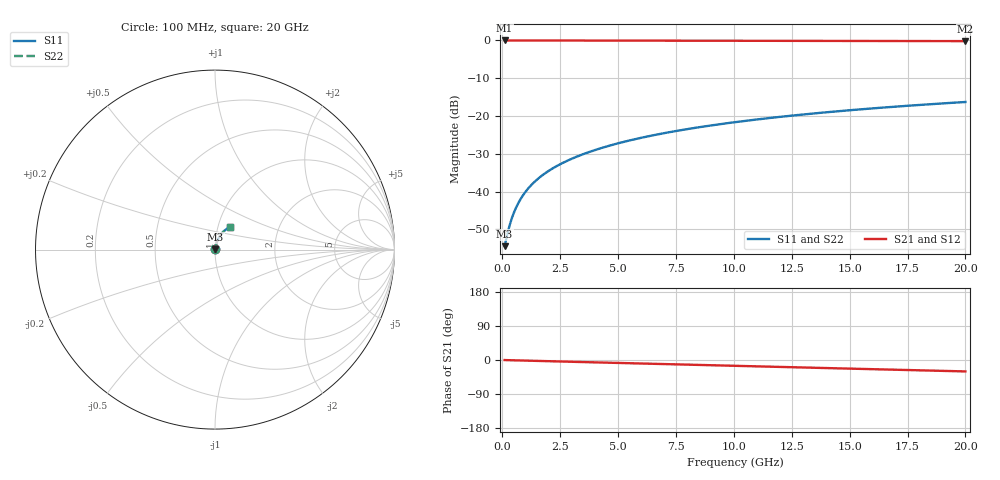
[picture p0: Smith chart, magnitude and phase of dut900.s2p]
! Touchstone file exported from HFSS 2026.1.0
!  File:  C:/ffzhzh/LocalFiles/Ansys_Project_Files/temp_train_BSMRDL_900_1783171405_18472.aedt
!  Generated:  09:24:36 PM Jul  4, 2026
!  Design:  BSMRDL
!  Project:  temp_train_BSMRDL_900_1783171405_18472
! Variables:
!  h_bsmrdl = 5.54um
!  h_ox = 20um
!  h_rdl = 5um
!  h_sub = 80um
!  h_tmrdl = 5um
!  h_tsv = 80um
!  h_via = 3um
!  l_bsmrdl = 501.23um
!  l_sub = 901.23um
!  l_tmrdl = 200um
!  m_sub = 200um
!  pitch = 37.38um
!  r_tsv = 6um
!  s_tmrdl = 10um
!  w_bsmrdl = 24.73um
!  w_sub = 500um
!  w_tmrdl = 12um
!  x_tsv_center1 = 206um
!  x_tsv_center2 = 731.96um
!  x_tsv_center3 = 943.96um
!  x_tsv_center4 = 1469.92um
!  x_tsv_center5 = 1681.92um
!  x_tsv_center6 = 2207.88um
# GHz S MA R 50.000000
! Terminal data exported
! Port[1] = BSM_RDL1_1_T1
! Port[2] = BSM_RDL1_1_T2
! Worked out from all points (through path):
!   200 points, 100 MHz to 20 GHz, reference 50 ohm
!   highest |S21| = -0.01 dB at 100 MHz (marker M1); lowest = -0.2 dB at 20 GHz (marker M2)
!   group delay of S21, straight-line fit = 4.17 ps
!   lowest |S11| = -54.4 dB at 100 MHz (marker M3), VSWR 1.00, Z = 50.2 + j0.115 ohm
!   |S11| at or under -10 dB: start of sweep to end of sweep
!   |S22| runs from -54.4 to -16.3 dB; largest |S21 - S12| = 4.3e-15
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0.1  0.001902 37.1  0.9985 -0.2  0.9985 -0.2  0.001902 37.1
! Gamma 0 0 0 0
! Port Impedance 50 0 50 0
0.2  0.002602 56.6  0.9983 -0.3  0.9983 -0.3  0.002577 56.4
0.3  0.003444 65.9  0.9982 -0.5  0.9982 -0.5  0.003407 65.5
0.4  0.004343 70.7  0.9981 -0.7  0.9981 -0.7  0.004301 70.4
0.5  0.005267 73.5  0.998 -0.8  0.998 -0.8  0.005223 73.3
0.6  0.006202 75.3  0.9979 -1.0  0.9979 -1.0  0.006156 75.0
0.8  0.008076 77.1  0.9978 -1.3  0.9978 -1.3  0.008028 77.0
1.1  0.01085 78.2  0.9977 -1.7  0.9977 -1.7  0.01081 78.2
1.3  0.01266 78.5  0.9975 -2.1  0.9975 -2.1  0.01262 78.5
1.5  0.01445 78.5  0.9974 -2.4  0.9974 -2.4  0.01442 78.6
1.8  0.01708 78.5  0.9972 -2.8  0.9972 -2.8  0.01706 78.5
2.1  0.01967 78.4  0.997 -3.3  0.997 -3.3  0.01965 78.4
2.7  0.02474 78.0  0.9964 -4.2  0.9964 -4.2  0.02474 78.0
3.5  0.03138 77.4  0.9957 -5.5  0.9957 -5.5  0.03138 77.4
4.2  0.03711 76.7  0.995 -6.5  0.995 -6.5  0.03711 76.7
5  0.04358 75.9  0.9942 -7.8  0.9942 -7.8  0.04358 75.9
6.8  0.05789 73.8  0.9925 -10.5  0.9925 -10.5  0.0579 73.8
8.3  0.06958 72.0  0.9911 -12.7  0.9911 -12.7  0.06958 71.9
10.1  0.08333 69.7  0.9894 -15.5  0.9894 -15.5  0.08334 69.6
13.4  0.1078 65.3  0.986 -20.4  0.986 -20.4  0.1078 65.3
16.7  0.1312 60.8  0.9823 -25.3  0.9823 -25.3  0.1312 60.8
20  0.1533 56.3  0.9783 -30.1  0.9783 -30.1  0.1533 56.2
